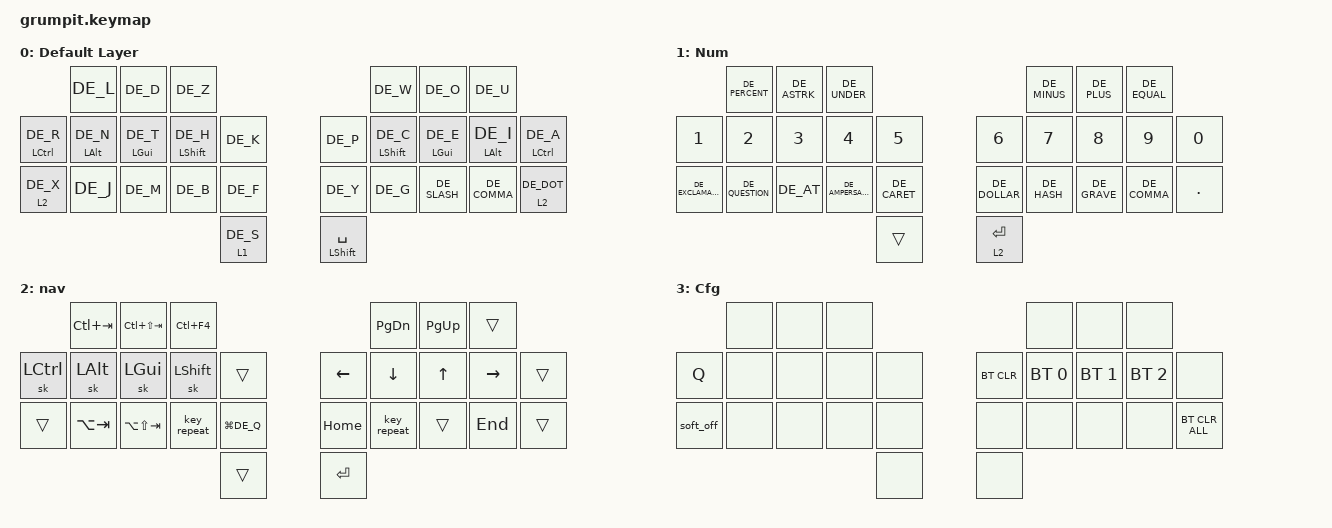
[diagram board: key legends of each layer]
#include <behaviors.dtsi>
#include <dt-bindings/zmk/bt.h>
#include <dt-bindings/zmk/keys.h>
#include "keys_de.h"

#define DEF_L 0
#define NUM_L 1
#define SYM_L 2
#define CFG_L 3

// Using layer taps on thumbs, having quick tap as well helps w/ repeating space/backspace

&lt {
    quick-tap-ms = <200>;
    flavor = "balanced";
    tapping-term-ms = <150>;
};

/ {
    combos {
        compatible = "zmk,combos";

        combo_tab {
            timeout-ms = <25>;
            key-positions = <8 7>;
            bindings = <&kp TAB>;
            layers = <0 2>;
        };

        combo_bspc {
            timeout-ms = <25>;
            key-positions = <14 13>;
            bindings = <&kp BSPC>;
            layers = <0 2>;
        };

        combo_esc {
            timeout-ms = <30>;
            key-positions = <12 13 14>;
            bindings = <&kp ESC>;
            layers = <0 2>;
        };

        combo_soff {
            timeout-ms = <50>;
            key-positions = <6 15 26 27>;
            bindings = <&soft_off>;
        };

        combo_q {
            key-positions = <0 1>;
            bindings = <&kp DE_Q>;
            layers = <0>;
            timeout-ms = <25>;
        };

        combo_v {
            key-positions = <1 2>;
            bindings = <&kp DE_V>;
            layers = <0>;
            timeout-ms = <25>;
        };

        combo_dqt {
            key-positions = <5 4>;
            bindings = <&kp DE_DQT>;
            timeout-ms = <25>;
        };

        combo_sqt {
            timeout-ms = <50>;
            key-positions = <3 4>;
            bindings = <&kp DE_SINGLE_QUOTE>;
        };

        combo_osb {
            timeout-ms = <25>;
            key-positions = <1 7>;
            bindings = <&kp DE_LEFT_BRACKET>;
        };

        combo_ocb {
            timeout-ms = <25>;
            key-positions = <6 0>;
            bindings = <&kp DE_LEFT_BRACE>;
        };

        combo_opar {
            timeout-ms = <25>;
            key-positions = <1 9>;
            bindings = <&kp DE_LPAR>;
        };

        combo_cpar {
            timeout-ms = <25>;
            key-positions = <4 12>;
            bindings = <&kp DE_RPAR>;
        };

        combo_ccb {
            timeout-ms = <25>;
            key-positions = <15 5>;
            bindings = <&kp DE_RIGHT_BRACE>;
        };

        combo_csb {
            timeout-ms = <25>;
            key-positions = <4 14>;
            bindings = <&kp DE_RBKT>;
        };

        combo_flsh {
            bindings = <&kp DE_SLASH>;
            key-positions = <8 6>;
            layers = <0>;
            timeout-ms = <25>;
        };

        combo_bslsh {
            bindings = <&kp DE_BACKSLASH>;
            key-positions = <13 15>;
            layers = <0>;
            timeout-ms = <25>;
        };

        combo_semi {
            bindings = <&kp DE_SEMI>;
            key-positions = <14 24>;
            timeout-ms = <25>;
        };

        combo_enter {
            bindings = <&kp ENTER>;
            key-positions = <9 8 7>;
            timeout-ms = <30>;
            layers = <0>;
        };

        combo_caps_word {
            bindings = <&caps_word>;
            key-positions = <9 12>;
        };

        combo_lt {
            bindings = <&kp DE_LESS_THAN>;
            key-positions = <7 6>;
            timeout-ms = <25>;
        };

        combo_gt {
            bindings = <&kp DE_GT>;
            key-positions = <14 15>;
            timeout-ms = <25>;
        };

        combo_pipe {
            bindings = <&kp DE_PIPE>;
            key-positions = <8 7 9>;
            layers = <1>;
            timeout-ms = <25>;
        };

        combo_ue {
            bindings = <&kp DE_U_UMLAUT>;
            key-positions = <5 26>;
            layers = <0>;
            timeout-ms = <30>;
        };

        combo_ae {
            bindings = <&kp DE_A_UMLAUT>;
            key-positions = <26 15>;
            layers = <0>;
            timeout-ms = <30>;
        };

        combo_oe {
            bindings = <&kp DE_O_UMLAUT>;
            key-positions = <26 4>;
            layers = <0>;
            timeout-ms = <30>;
        };

        combo_sz {
            bindings = <&kp DE_CAPITAL_SHARP_S>;
            key-positions = <26 13>;
            layers = <0>;
        };

        combo_colon {
            bindings = <&kp DE_COLON>;
            key-positions = <25 15>;
            timeout-ms = <30>;
        };

        combo_space {
            bindings = <&kp SPACE>;
            key-positions = <8 9>;
            timeout-ms = <30>;
            layers = <0 2>;
        };

        combo_cspace {
            bindings = <&kp LC(BSPC)>;
            key-positions = <13 12>;
            timeout-ms = <30>;
            layers = <0 2>;
        };

        combo_repeat {
            bindings = <&key_repeat>;
            key-positions = <7 9>;
            timeout-ms = <30>;
            layers = <0>;
        };

        combo_repeat_r {
            bindings = <&key_repeat>;
            key-positions = <12 14>;
            timeout-ms = <30>;
            layers = <0>;
        };

        combo_tilde {
            bindings = <&kp DE_TILDE>;
            key-positions = <2 0>;
            timeout-ms = <30>;
        };

        combo_unlock {
            bindings = <&studio_unlock>;
            key-positions = <17 18 19>;
        };

        combo_under {
            bindings = <&kp DE_UNDER>;
            key-positions = <9 6>;
            timeout-ms = <25>;
        };

        combo_minus {
            bindings = <&kp DE_MINUS>;
            key-positions = <12 15>;
            timeout-ms = <25>;
        };

        combo_p {
            bindings = <&kp DE_P>;
            key-positions = <3 12>;
            timeout-ms = <25>;
        };

        combo_y {
            bindings = <&kp DE_Y>;
            key-positions = <12 22>;
            timeout-ms = <25>;
        };

        combo_k {
            bindings = <&kp DE_K>;
            key-positions = <2 9>;
            timeout-ms = <25>;
        };

        combo_f {
            bindings = <&kp DE_F>;
            key-positions = <9 19>;
            timeout-ms = <25>;
        };

        combo_j {
            bindings = <&kp DE_J>;
            key-positions = <0 7>;
            timeout-ms = <25>;
        };
    };

    behaviors {
        hml: homerow_mods_left {
            compatible = "zmk,behavior-hold-tap";
            #binding-cells = <2>;
            tapping-term-ms = <150>;
            flavor = "balanced";
            bindings = <&kp>, <&kp>;

            hold-trigger-key-positions = <3 4 5 11 12 13 14 15 21 22 23 24 25 27>;
            hold-trigger-on-release;
        };

        layer_td: layer_td {
            compatible = "zmk,behavior-tap-dance";
            label = "LAYER_TD";
            #binding-cells = <0>;
            bindings = <&mt LEFT_SHIFT SPACE>, <&mo 2>;

            tapping-term-ms = <150>;
        };

        hmr: homerow_mods_right {
            compatible = "zmk,behavior-hold-tap";
            #binding-cells = <2>;
            tapping-term-ms = <150>;
            flavor = "balanced";
            bindings = <&kp>, <&kp>;

            label = "HMR";
            hold-trigger-key-positions = <0 1 2 7 8 9 10 17 18 19 20 6 16>;
            hold-trigger-on-release;
        };

        mod_morph_lbrkt: mod_morph_lbrkt {
            compatible = "zmk,behavior-mod-morph";
            label = "MOD_MORPH_LBRKT";
            bindings = <&kp DE_LEFT_BRACKET>, <&kp DE_LEFT_BRACE>;

            #binding-cells = <0>;
            mods = <(MOD_LSFT)>;
        };

        mod_morph_rbrkt: mod_morph_rbrkt {
            compatible = "zmk,behavior-mod-morph";
            label = "MOD_MORPH_RBRKT";
            bindings = <&kp DE_RBKT>, <&kp DE_RBRC>;

            #binding-cells = <0>;
            mods = <(MOD_LSFT)>;
        };
    };

    keymap {
        compatible = "zmk,keymap";

        default_layer {
            display-name = "Default Layer";
            bindings = <
                 &kp DE_L            &kp DE_D            &kp DE_Z                                                  &kp DE_W              &kp DE_O            &kp DE_U
&hml LCTRL DE_R  &hml LEFT_ALT DE_N  &hml LEFT_GUI DE_T  &hml LEFT_SHIFT DE_H  &kp DE_K      &kp DE_P              &hmr LEFT_SHIFT DE_C  &hmr LEFT_GUI DE_E  &hmr LEFT_ALT DE_I  &hmr LCTRL DE_A
&lt 2 DE_X       &kp DE_J            &kp DE_M            &kp DE_B              &kp DE_F      &kp DE_Y              &kp DE_G              &kp DE_SLASH        &kp DE_COMMA        &lt 2 DE_DOT
                                                                               &lt 1 DE_S    &mt LEFT_SHIFT SPACE
            >;
        };

        num_layer {
            display-name = "Num";
            bindings = <
                    &kp DE_PERCENT   &kp DE_ASTRK  &kp DE_UNDER                                     &kp DE_MINUS  &kp DE_PLUS   &kp DE_EQUAL
&kp N1              &kp N2           &kp N3        &kp N4            &kp N5          &kp N6         &kp N7        &kp N8        &kp N9        &kp N0
&kp DE_EXCLAMATION  &kp DE_QUESTION  &kp DE_AT     &kp DE_AMPERSAND  &kp DE_CARET    &kp DE_DOLLAR  &kp DE_HASH   &kp DE_GRAVE  &kp DE_COMMA  &kp DOT
                                                                     &trans          &lt 2 ENTER
            >;
        };

        nav {
            bindings = <
           &kp LC(TAB)  &kp LC(LS(TAB))  &kp LC(F4)                              &kp PG_DN    &kp PG_UP  &trans
&sk LCTRL  &sk LALT     &sk LGUI         &sk LSHFT    &trans          &kp LEFT   &kp DOWN     &kp UP     &kp RIGHT  &trans
&trans     &kp LA(TAB)  &kp LA(LS(TAB))  &key_repeat  &kp LG(DE_Q)    &kp HOME   &key_repeat  &trans     &kp END    &trans
                                                      &trans          &kp ENTER
            >;
        };

        cfg_layer {
            display-name = "Cfg";
            bindings = <
           &none  &none  &none                       &none         &none         &none
&kp Q      &none  &none  &none  &none    &bt BT_CLR  &bt BT_SEL 0  &bt BT_SEL 1  &bt BT_SEL 2  &none
&soft_off  &none  &none  &none  &none    &none       &none         &none         &none         &bt BT_CLR_ALL
                                &none    &none
            >;
        };
    };
};
